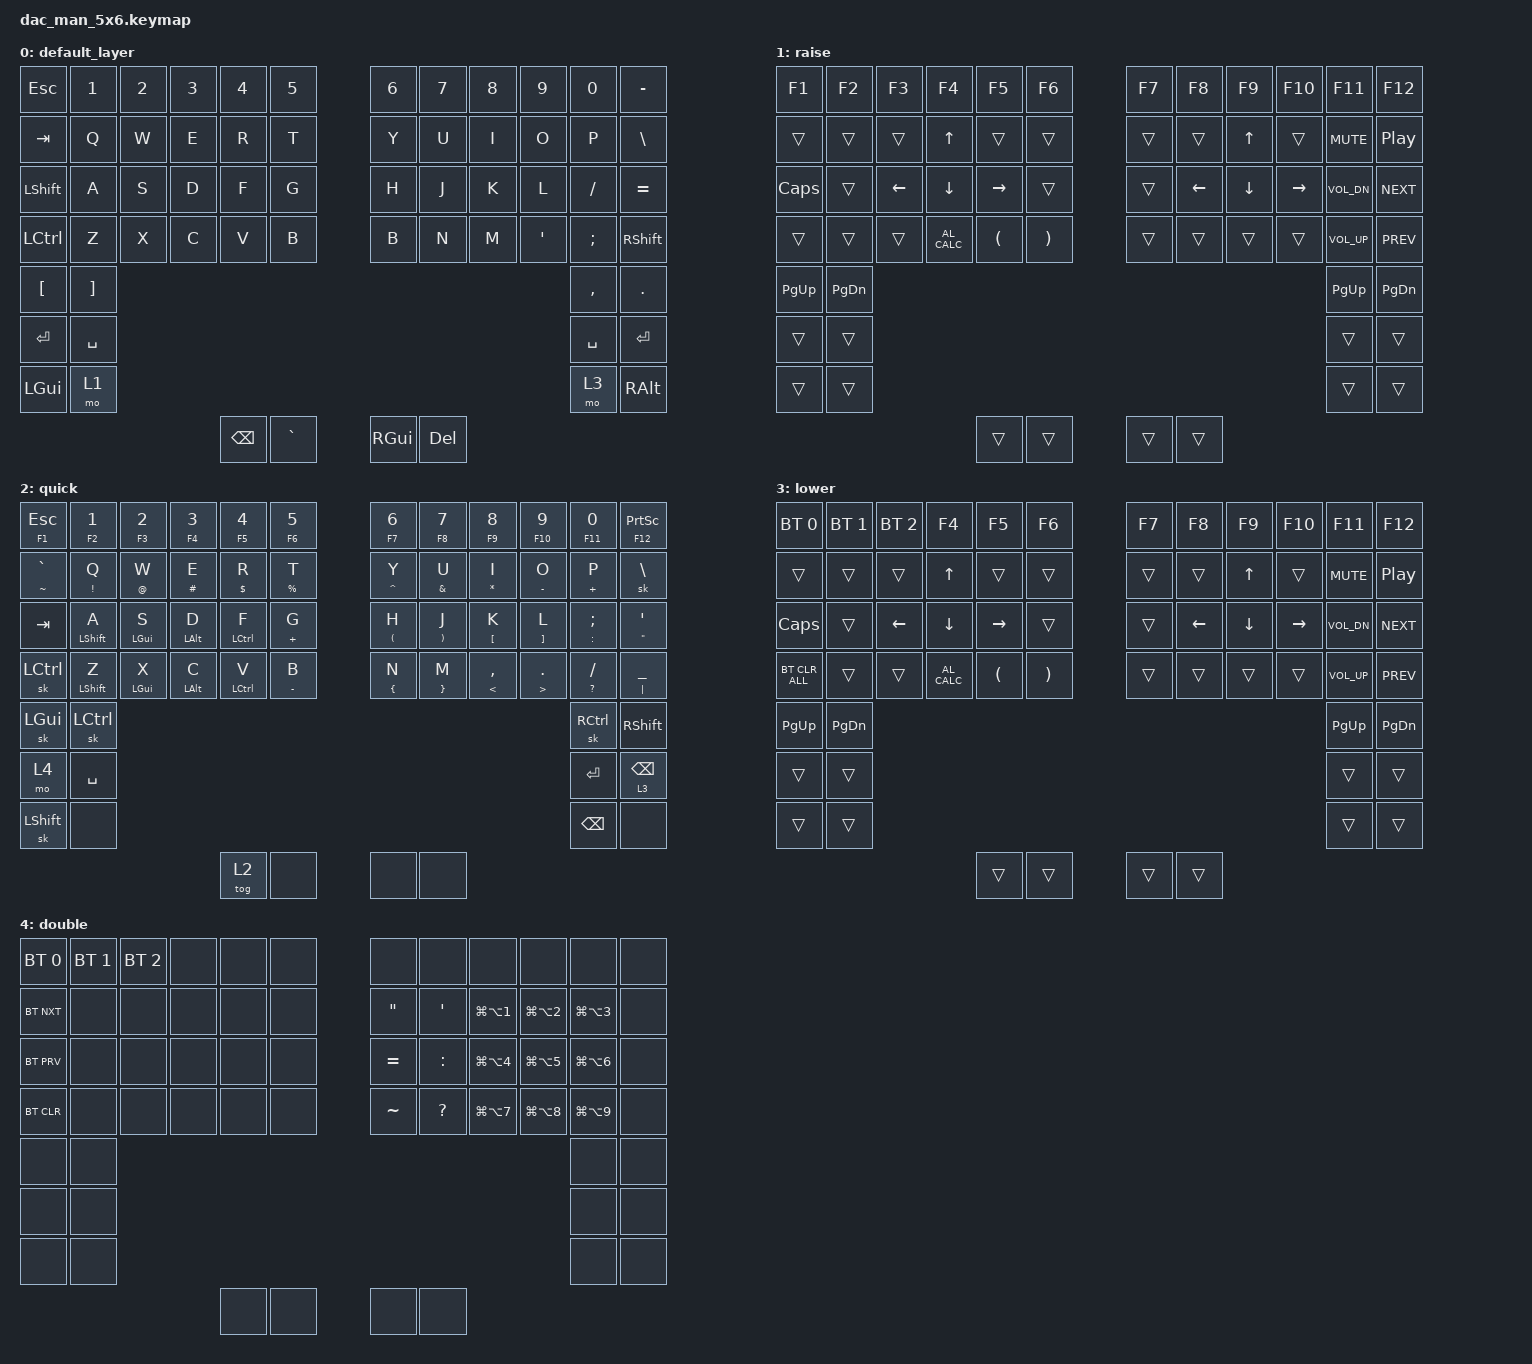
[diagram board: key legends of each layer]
#include <behaviors.dtsi>
#include <dt-bindings/zmk/bt.h>
#include <dt-bindings/zmk/keys.h>

#define DEFAULT 0
#define RAISE   1
#define LOWER   2
#define QUICK   3
#define DOUBLE  4

&sk {
    release-after-ms = <350>;
    quick-release;
    ignore-modifiers;
};

/ {
    behaviors {
        qk: hold_tap {
            compatible = "zmk,behavior-hold-tap";
            label = "QUICK_HOLD_TAP";
            #binding-cells = <2>;
            tapping-term-ms = <175>;
            quick-tap-ms = <175>;
            flavor = "tap-preferred";
            global-quick-tap;
            bindings =
                <&kp>,
                <&kp>;
        };
        td0: tap_dance_0 {
            compatible = "zmk,behavior-tap-dance";
            label = "TAP_DANCE_0";
            #binding-cells = <0>;
            tapping-term-ms = <150>;
            bindings =
                <&kp GRAVE>,
                <&kp TILDE>;
        };
    };

    keymap {
        compatible = "zmk,keymap";

        default_layer {
            bindings = <
  &kp ESC  &kp N1        &kp N2     &kp N3  &kp N4        &kp N5                                         &kp N6           &kp N7     &kp N8           &kp N9         &kp N0 &kp MINUS
    &kp TAB  &kp Q         &kp W      &kp E   &kp R         &kp T                                          &kp Y            &kp U      &kp I            &kp O          &kp P        &kp BSLH
  &kp LSHIFT   &kp A         &kp S      &kp D   &kp F         &kp G                                          &kp H            &kp J      &kp K            &kp L  &kp FSLH        &kp EQUAL
&kp LCTRL   &kp Z         &kp X      &kp C   &kp V         &kp B                                         &kp B  &kp N            &kp M  &kp SQT       &kp SEMI        &kp RSHIFT       
                   &kp LBKT &kp RBKT                                                                                        &kp COMMA  &kp DOT
                                             &kp ENTER     &kp SPACE                                      &kp SPACE  &kp ENTER
                                                    &kp LGUI      &mo 1           &mo 3    &kp RALT
                                                    &kp BSPC  &kp GRAVE           &kp RGUI  &kp DEL
            >;
        };

        raise {
            bindings = <
    &kp F1        &kp F2        &kp F3        &kp F4        &kp F5       &kp F6                       &kp F7        &kp F8         &kp F9      &kp F10       &kp F11     &kp F12
    &trans        &trans        &trans        &kp UP        &trans       &trans                       &trans        &trans         &kp UP      &trans        &kp C_MUTE      &kp C_PP
    &kp CAPS        &trans        &kp LEFT      &kp DOWN      &kp RIGHT    &trans                       &trans        &kp LEFT       &kp DOWN    &kp RIGHT     &kp C_VOL_DN    &kp C_NEXT
    &trans        &trans        &trans        &kp C_AL_CALC         &kp LPAR       &kp RPAR                       &trans        &trans         &trans      &trans        &kp C_VOL_UP  &kp C_PREV
                                &kp PG_UP     &kp PG_DN                                                                            &kp PG_UP   &kp PG_DN
                                                                &trans         &trans                         &trans            &trans
                                                                              &trans  &trans  &trans      &trans
                                                                        &trans  &trans   &trans       &trans
            >;
        };

        quick {
            bindings = <
     &qk F1 ESC         &qk F2 N1       &qk F3 N2       &qk F4 N3     &qk F5 N4       &qk F6 N5                               &qk F7 N6          &qk F8 N7            &qk F9 N8            &qk F10 N9           &qk F11 N0    &qk F12 PRINTSCREEN
&qk TILDE GRAVE        &qk EXCL Q        &qk AT W      &qk HASH E  &qk DOLLAR R   &qk PERCENT T                             &qk CARET Y    &qk AMPERSAND U       &qk ASTERISK I           &qk MINUS O           &qk PLUS P               &sk BSLH
        &kp TAB  &qk LEFT_SHIFT A  &qk LEFT_GUI S  &qk LEFT_ALT D   &qk LCTRL F      &qk PLUS G                              &qk LPAR H         &qk RPAR J   &qk LEFT_BRACKET K   &qk RIGHT_BRACKET L  &qk COLON SEMICOLON  &qk DOUBLE_QUOTES SQT
      &sk LCTRL  &qk LEFT_SHIFT Z  &qk LEFT_GUI X  &qk LEFT_ALT C   &qk LCTRL V     &qk MINUS B                        &qk LEFT_BRACE N  &qk RIGHT_BRACE M  &qk LESS_THAN COMMA  &qk GREATER_THAN DOT   &qk QUESTION SLASH         &qk PIPE UNDER
                                     &sk LEFT_GUI       &sk LCTRL                                                                                                     &sk RCTRL       &kp RIGHT_SHIFT
                                                                          &mo 4       &kp SPACE                               &kp ENTER    &lt 3 BACKSPACE
                                                                                 &sk LEFT_SHIFT  &none  &kp BACKSPACE             &none
                                                                                         &tog 2  &none          &none             &none
            >;
        };

        lower {
            bindings = <
   &bt BT_SEL 0  &bt BT_SEL 1  &bt BT_SEL 2        &kp F4        &kp F5       &kp F6                       &kp F7        &kp F8         &kp F9      &kp F10       &kp F11     &kp F12
    &trans        &trans        &trans        &kp UP        &trans       &trans                       &trans        &trans         &kp UP      &trans        &kp C_MUTE      &kp C_PP
    &kp CAPS        &trans        &kp LEFT      &kp DOWN      &kp RIGHT    &trans                       &trans        &kp LEFT       &kp DOWN    &kp RIGHT     &kp C_VOL_DN    &kp C_NEXT
     &bt BT_CLR_ALL       &trans      &trans       &kp C_AL_CALC       &kp LPAR      &kp RPAR                    &trans        &trans         &trans      &trans        &kp C_VOL_UP  &kp C_PREV
                                &kp PG_UP     &kp PG_DN                                                                          &kp PG_UP   &kp PG_DN
                                                                &trans         &trans                &trans           &trans
                                                                        &trans  &trans               &trans      &trans
                                                                        &trans  &trans               &trans       &trans
            >;
        };

        double {
            bindings = <
&bt BT_SEL 0  &bt BT_SEL 1  &bt BT_SEL 2  &none  &none  &none                            &none      &none                 &none                 &none                 &none  &none
  &bt BT_NXT         &none         &none  &none  &none  &none                &kp DOUBLE_QUOTES   &kp APOS  &kp LG(LA(NUMBER_1))  &kp LG(LA(NUMBER_2))  &kp LG(LA(NUMBER_3))  &none
  &bt BT_PRV         &none         &none  &none  &none  &none                        &kp EQUAL  &kp COLON  &kp LG(LA(NUMBER_4))  &kp LG(LA(NUMBER_5))  &kp LG(LA(NUMBER_6))  &none
  &bt BT_CLR         &none         &none  &none  &none  &none                        &kp TILDE  &kp QMARK  &kp LG(LA(NUMBER_7))  &kp LG(LA(NUMBER_8))  &kp LG(LA(NUMBER_9))  &none
                                   &none  &none                                                                           &none                 &none
                                                 &none  &none                            &none      &none
                                                        &none  &none  &none              &none
                                                        &none  &none  &none              &none
            >;
        };
    };
};
